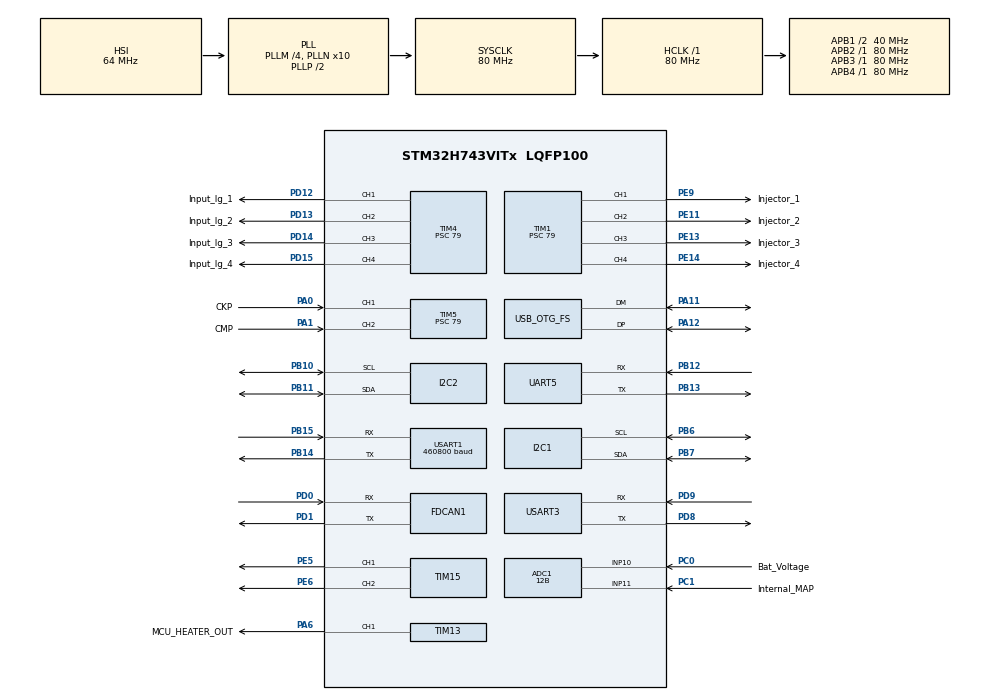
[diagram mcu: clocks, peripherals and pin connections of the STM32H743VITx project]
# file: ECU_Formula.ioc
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ADC1.Channel-0\#ChannelRegularConversion=ADC_CHANNEL_10
ADC1.NbrOfConversionFlag=1
ADC1.OffsetNumber-0\#ChannelRegularConversion=ADC_OFFSET_NONE
ADC1.OffsetSignedSaturation-0\#ChannelRegularConversion=DISABLE
ADC1.Rank-0\#ChannelRegularConversion=1
ADC1.Resolution=ADC_RESOLUTION_12B
ADC1.SamplingTime-0\#ChannelRegularConversion=ADC_SAMPLETIME_1CYCLE_5
ADC1.master=1
CORTEX_M7.BaseAddress_Spec=0x0
CORTEX_M7.default_mode_Activation=1
Dma.Request0=USART1_RX
Dma.Request1=USART1_TX
Dma.USART1_RX.0.Direction=DMA_PERIPH_TO_MEMORY
Dma.USART1_RX.0.EventEnable=DISABLE
Dma.USART1_RX.0.FIFOMode=DMA_FIFOMODE_DISABLE
Dma.USART1_RX.0.Instance=DMA1_Stream0
Dma.USART1_RX.0.MemDataAlignment=DMA_MDATAALIGN_BYTE
Dma.USART1_RX.0.MemInc=DMA_MINC_ENABLE
Dma.USART1_RX.0.Mode=DMA_NORMAL
Dma.USART1_RX.0.PeriphDataAlignment=DMA_PDATAALIGN_BYTE
Dma.USART1_RX.0.PeriphInc=DMA_PINC_DISABLE
Dma.USART1_RX.0.Polarity=HAL_DMAMUX_REQ_GEN_RISING
Dma.USART1_RX.0.Priority=DMA_PRIORITY_HIGH
Dma.USART1_RX.0.RequestNumber=1
Dma.USART1_RX.0.SignalID=NONE
Dma.USART1_RX.0.SyncEnable=DISABLE
Dma.USART1_RX.0.SyncPolarity=HAL_DMAMUX_SYNC_NO_EVENT
Dma.USART1_RX.0.SyncRequestNumber=1
Dma.USART1_RX.0.SyncSignalID=NONE
Dma.USART1_TX.1.Direction=DMA_MEMORY_TO_PERIPH
Dma.USART1_TX.1.EventEnable=DISABLE
Dma.USART1_TX.1.FIFOMode=DMA_FIFOMODE_DISABLE
Dma.USART1_TX.1.Instance=DMA1_Stream1
Dma.USART1_TX.1.MemDataAlignment=DMA_MDATAALIGN_BYTE
Dma.USART1_TX.1.MemInc=DMA_MINC_ENABLE
Dma.USART1_TX.1.Mode=DMA_NORMAL
Dma.USART1_TX.1.PeriphDataAlignment=DMA_PDATAALIGN_BYTE
Dma.USART1_TX.1.PeriphInc=DMA_PINC_DISABLE
Dma.USART1_TX.1.Polarity=HAL_DMAMUX_REQ_GEN_RISING
Dma.USART1_TX.1.Priority=DMA_PRIORITY_MEDIUM
Dma.USART1_TX.1.RequestNumber=1
Dma.USART1_TX.1.SignalID=NONE
Dma.USART1_TX.1.SyncEnable=DISABLE
Dma.USART1_TX.1.SyncPolarity=HAL_DMAMUX_SYNC_NO_EVENT
Dma.USART1_TX.1.SyncRequestNumber=1
Dma.USART1_TX.1.SyncSignalID=NONE
FDCAN1.CalculateBaudRateNominal=1041666
FDCAN1.CalculateTimeBitNominal=960
FDCAN1.CalculateTimeQuantumNominal=320.0
FDCAN1.TxBuffersNbr=32
I2C1.Timing=0x00909BEB
I2C2.Timing=0x00909BEB
Mcu.Family=STM32H7
Mcu.Name=STM32H743VITx
Mcu.Package=LQFP100
NVIC.DMA1_Stream0_IRQn=true\:10\:0\:true\:false\:true\:false\:true\:true
NVIC.DMA1_Stream1_IRQn=true\:10\:0\:true\:false\:true\:false\:true\:true
NVIC.OTG_FS_IRQn=true\:10\:0\:true\:false\:true\:true\:true\:true
NVIC.PriorityGroup=NVIC_PRIORITYGROUP_4
NVIC.TIM1_CC_IRQn=true\:1\:0\:true\:false\:true\:true\:true\:true
NVIC.TIM1_UP_IRQn=true\:1\:0\:true\:false\:true\:true\:true\:true
NVIC.TIM4_IRQn=true\:1\:0\:true\:false\:true\:true\:true\:true
NVIC.TIM5_IRQn=true\:0\:0\:false\:false\:true\:true\:true\:true
NVIC.USART1_IRQn=true\:10\:0\:true\:false\:true\:true\:true\:true
PA0.GPIO_Label=CKP
PA0.Signal=S_TIM5_CH1
PA1.GPIO_Label=CMP
PA1.Signal=S_TIM5_CH2
PA11.Mode=Device_Only
PA11.Signal=USB_OTG_FS_DM
PA12.Mode=Device_Only
PA12.Signal=USB_OTG_FS_DP
PA6.GPIO_Label=MCU_HEATER_OUT
PA6.Signal=S_TIM13_CH1
PB10.Mode=I2C
PB10.Signal=I2C2_SCL
PB11.Mode=I2C
PB11.Signal=I2C2_SDA
PB12.Mode=Asynchronous
PB12.Signal=UART5_RX
PB13.Mode=Asynchronous
PB13.Signal=UART5_TX
PB14.Mode=Asynchronous
PB14.Signal=USART1_TX
PB15.Mode=Asynchronous
PB15.Signal=USART1_RX
PB6.Mode=I2C
PB6.Signal=I2C1_SCL
PB7.Mode=I2C
PB7.Signal=I2C1_SDA
PC0.GPIO_Label=Bat_Voltage
PC0.Signal=ADCx_INP10
PC1.GPIO_Label=Internal_MAP
PC1.Signal=SharedAnalog_PC1
PC14-OSC32_IN\ (OSC32_IN).Mode=LSE-External-Oscillator
PC14-OSC32_IN\ (OSC32_IN).Signal=RCC_OSC32_IN
PC15-OSC32_OUT\ (OSC32_OUT).Mode=LSE-External-Oscillator
PC15-OSC32_OUT\ (OSC32_OUT).Signal=RCC_OSC32_OUT
PD0.Mode=FDCAN_Activate
PD0.Signal=FDCAN1_RX
PD1.Mode=FDCAN_Activate
PD1.Signal=FDCAN1_TX
PD12.GPIO_Label=Input_Ig_1
PD12.Signal=S_TIM4_CH1
PD13.GPIO_Label=Input_Ig_2
PD13.Signal=S_TIM4_CH2
PD14.GPIO_Label=Input_Ig_3
PD14.Signal=S_TIM4_CH3
PD15.GPIO_Label=Input_Ig_4
PD15.Signal=S_TIM4_CH4
PD8.Mode=Asynchronous
PD8.Signal=USART3_TX
PD9.Mode=Asynchronous
PD9.Signal=USART3_RX
PE11.GPIO_Label=Injector_2
PE11.Signal=S_TIM1_CH2
PE13.GPIO_Label=Injector_3
PE13.Signal=S_TIM1_CH3
PE14.GPIO_Label=Injector_4
PE14.Signal=S_TIM1_CH4
PE5.Signal=S_TIM15_CH1
PE6.Signal=S_TIM15_CH2
PE9.GPIO_Label=Injector_1
PE9.Signal=S_TIM1_CH1
PH0-OSC_IN\ (PH0).Mode=HSE-External-Oscillator
PH0-OSC_IN\ (PH0).Signal=RCC_OSC_IN
PH1-OSC_OUT\ (PH1).Mode=HSE-External-Oscillator
PH1-OSC_OUT\ (PH1).Signal=RCC_OSC_OUT
ProjectManager.HeapSize=0x200
ProjectManager.StackSize=0x400
ProjectManager.TargetToolchain=STM32CubeIDE
RCC.ADCFreq_Value=75000000
RCC.APB1Freq_Value=40000000
RCC.APB2Freq_Value=80000000
RCC.APB3Freq_Value=80000000
RCC.APB4Freq_Value=80000000
RCC.CortexFreq_Value=80000000
RCC.D2PPRE1=RCC_APB1_DIV2
RCC.DIVM1=4
RCC.DIVM2=4
RCC.DIVM3=1
RCC.DIVN1=10
RCC.DIVN2=9
RCC.DIVN3=10
RCC.DIVQ2=3
RCC.DIVQ3=3
RCC.FDCANCLockSelection=RCC_FDCANCLKSOURCE_PLL2
RCC.FLatency-AdvancedSettings=FLASH_LATENCY_0
RCC.HCLKFreq_Value=80000000
RCC.HSE_VALUE=16000000
RCC.PLL2FRACN=3072
RCC.PLL3FRACN=0
RCC.PLLFRACN=0
RCC.SAI1CLockSelection=RCC_SAI1CLKSOURCE_PLL2
RCC.SYSCLKFreq_VALUE=80000000
RCC.SYSCLKSource=RCC_SYSCLKSOURCE_PLLCLK
RCC.USART16CLockSelection=RCC_USART16CLKSOURCE_PLL2
RCC.USBCLockSelection=RCC_USBCLKSOURCE_HSI48
RCC.USBFreq_Value=48000000
SH.ADCx_INP10.0=ADC1_INP10,IN10-Single-Ended
SH.S_TIM13_CH1.0=TIM13_CH1,PWM Generation1 CH1
SH.S_TIM15_CH1.0=TIM15_CH1,PWM Generation1 CH1
SH.S_TIM15_CH2.0=TIM15_CH2,PWM Generation2 CH2
SH.S_TIM1_CH1.0=TIM1_CH1,Output Compare1 CH1
SH.S_TIM1_CH2.0=TIM1_CH2,Output Compare2 CH2
SH.S_TIM1_CH3.0=TIM1_CH3,Output Compare3 CH3
SH.S_TIM1_CH4.0=TIM1_CH4,Output Compare4 CH4
SH.S_TIM4_CH1.0=TIM4_CH1,Output Compare1 CH1
SH.S_TIM4_CH2.0=TIM4_CH2,Output Compare2 CH2
SH.S_TIM4_CH3.0=TIM4_CH3,Output Compare3 CH3
SH.S_TIM4_CH4.0=TIM4_CH4,Output Compare4 CH4
SH.S_TIM5_CH1.0=TIM5_CH1,Input_Capture1_from_TI1
SH.S_TIM5_CH2.0=TIM5_CH2,Input_Capture2_from_TI2
SH.SharedAnalog_PC1.0=ADC1_INN10
SH.SharedAnalog_PC1.1=ADC1_INP11,IN11-Single-Ended
TIM1.Channel-Output\ Compare1\ CH1=TIM_CHANNEL_1
TIM1.Channel-Output\ Compare2\ CH2=TIM_CHANNEL_2
TIM1.Channel-Output\ Compare3\ CH3=TIM_CHANNEL_3
TIM1.Channel-Output\ Compare4\ CH4=TIM_CHANNEL_4
TIM1.Channel-Output\ Compare5\ No\ Output=TIM_CHANNEL_5
TIM1.Channel-Output\ Compare6\ No\ Output=TIM_CHANNEL_6
TIM1.Prescaler=79
TIM13.Channel=TIM_CHANNEL_1
TIM15.Channel-PWM\ Generation1\ CH1=TIM_CHANNEL_1
TIM15.Channel-PWM\ Generation2\ CH2=TIM_CHANNEL_2
TIM4.Channel-Output\ Compare1\ CH1=TIM_CHANNEL_1
TIM4.Channel-Output\ Compare2\ CH2=TIM_CHANNEL_2
TIM4.Channel-Output\ Compare3\ CH3=TIM_CHANNEL_3
TIM4.Channel-Output\ Compare4\ CH4=TIM_CHANNEL_4
TIM4.Prescaler=79
TIM5.Channel-Input_Capture1_from_TI1=TIM_CHANNEL_1
TIM5.Channel-Input_Capture2_from_TI2=TIM_CHANNEL_2
TIM5.Channel-Output\ Compare3\ No\ Output=TIM_CHANNEL_3
TIM5.Channel-Output\ Compare4\ No\ Output=TIM_CHANNEL_4
TIM5.ICPolarity_CH1=TIM_INPUTCHANNELPOLARITY_RISING
TIM5.ICPolarity_CH2=TIM_INPUTCHANNELPOLARITY_RISING
TIM5.Period=0xFFFFFFFF
TIM5.Prescaler=79
USART1.BaudRate=460800
USART1.VirtualMode-Asynchronous=VM_ASYNC
USART3.VirtualMode-Asynchronous=VM_ASYNC
USB_DEVICE.CLASS_NAME_FS=CDC
USB_DEVICE.MANUFACTURER_STRING-CDC_FS=Formula Route
USB_DEVICE.PRODUCT_STRING_CDC_FS=ECU
USB_DEVICE.VirtualMode-CDC_FS=Cdc
USB_DEVICE.VirtualModeFS=Cdc_FS
USB_OTG_FS.VirtualMode=Device_Only
VP_MEMORYMAP_VS_MEMORYMAP.Mode=CurAppReg
VP_RCC_USB.Mode=USB_FS
VP_TIM13_VS_ClockSourceINT.Mode=Enable_Timer
VP_TIM1_VS_ClockSourceINT.Mode=Internal
VP_TIM1_VS_no_output5.Mode=Output Compare5 No Output
VP_TIM1_VS_no_output6.Mode=Output Compare6 No Output
VP_TIM4_VS_ClockSourceINT.Mode=Internal
VP_TIM5_VS_ClockSourceINT.Mode=Internal
VP_TIM5_VS_no_output3.Mode=Output Compare3 No Output
VP_TIM5_VS_no_output4.Mode=Output Compare4 No Output
VP_USB_DEVICE_VS_USB_DEVICE_CDC_FS.Mode=CDC_FS
board=custom

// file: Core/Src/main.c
/* USER CODE BEGIN Header */
/**
 ******************************************************************************
 * @file           : main.c
 * @brief          : Main program body
 ******************************************************************************
 * @attention
 *
 * Copyright (c) 2026 STMicroelectronics.
 * All rights reserved.
 *
 * This software is licensed under terms that can be found in the LICENSE file
 * in the root directory of this software component.
 * If no LICENSE file comes with this software, it is provided AS-IS.
 *
 ******************************************************************************
 */
/* USER CODE END Header */
#include "main.h"
#include "usb_device.h"

/* USER CODE BEGIN Includes */
#include <stdio.h>
#include <string.h>
#include <stdint.h>
#include <stdbool.h>

#include "ADC_driver.h"
#include "cJSON.h"
#include "communication_serial_protocol.h"
#include "MAX9924_driver.h"
#include "engine_control.h"
#include "Battery_manager.h"
#include "MAP_sensor.h"
/* USER CODE END Includes */

/* USER CODE BEGIN PM */
#define __HAL_TIM_SET_OC_MODE(__HANDLE__, __CHANNEL__, __MODE__) \
do { \
    if ((__CHANNEL__) == TIM_CHANNEL_1) { \
        MODIFY_REG((__HANDLE__)->Instance->CCMR1, TIM_CCMR1_OC1M, (__MODE__)); \
    } else if ((__CHANNEL__) == TIM_CHANNEL_2) { \
        MODIFY_REG((__HANDLE__)->Instance->CCMR1, TIM_CCMR1_OC2M, ((__MODE__) << 8U)); \
    } else if ((__CHANNEL__) == TIM_CHANNEL_3) { \
        MODIFY_REG((__HANDLE__)->Instance->CCMR2, TIM_CCMR2_OC3M, (__MODE__)); \
    } else if ((__CHANNEL__) == TIM_CHANNEL_4) { \
        MODIFY_REG((__HANDLE__)->Instance->CCMR2, TIM_CCMR2_OC4M, ((__MODE__) << 8U)); \
    } \
} while(0)
/* USER CODE END PM */

ADC_HandleTypeDef hadc1;

FDCAN_HandleTypeDef hfdcan1;

I2C_HandleTypeDef hi2c1;
I2C_HandleTypeDef hi2c2;

TIM_HandleTypeDef htim1;
TIM_HandleTypeDef htim4;
TIM_HandleTypeDef htim5;
TIM_HandleTypeDef htim13;
TIM_HandleTypeDef htim15;

UART_HandleTypeDef huart5;
UART_HandleTypeDef huart1;
UART_HandleTypeDef huart3;
DMA_HandleTypeDef hdma_usart1_rx;
DMA_HandleTypeDef hdma_usart1_tx;

void SystemClock_Config(void);
void PeriphCommonClock_Config(void);
static void MPU_Config(void);
static void MX_GPIO_Init(void);
static void MX_DMA_Init(void);
static void MX_USART3_UART_Init(void);
static void MX_I2C1_Init(void);
static void MX_I2C2_Init(void);
static void MX_USART1_UART_Init(void);
static void MX_TIM5_Init(void);
static void MX_TIM4_Init(void);
static void MX_TIM1_Init(void);
static void MX_ADC1_Init(void);
static void MX_TIM13_Init(void);
static void MX_UART5_Init(void);
static void MX_FDCAN1_Init(void);
static void MX_TIM15_Init(void);
/* USER CODE BEGIN PFP */
void I2C_Scanner(I2C_HandleTypeDef *hi2c);
void SEND_VR_CallBack(Command_Result_t result, char *answer);
void SEND_ADC_CallBack(Command_Result_t result, char *answer);
void SEND_Battery_CallBack(Command_Result_t result, char *answer);
void SEND_Engine_CallBack(Command_Result_t result, char *answer);
void ADC_Read_Cycle(void);

void ENGINE_INJECTOR_SCHEDULE_TEST_TOGGLE(void);
void ENGINE_IGNITION_SCHEDULE_TEST_TOGGLE(void);

void TIM1_Init_Config(void);
void TIM4_Init_Config(void);
void TIM5_Init_Config(void);
/* USER CODE END PFP */

/* USER CODE BEGIN 0 */
uint32_t captureValue = 0;
uint32_t previousCaptureValue = 0;
uint32_t frequency = 0;

void HAL_TIM_IC_CaptureCallback(TIM_HandleTypeDef *htim) {
	if (htim->Instance == TIM5 && htim->Channel == CKP_ACTIVE_CHANNEL) {
		VR_InputCaptureCallback(SENSOR_CKP);
	}
	if (htim->Instance == TIM5 && htim->Channel == CMP_ACTIVE_CHANNEL) {
		VR_InputCaptureCallback(SENSOR_CMP);
	}
}

void HAL_TIM_OC_DelayElapsedCallback(TIM_HandleTypeDef *htim) {
	if (htim->Instance == TIM5 && htim->Channel == HAL_TIM_ACTIVE_CHANNEL_3) {

	}

	if (htim->Instance == TIM5 && htim->Channel == HAL_TIM_ACTIVE_CHANNEL_4) {
		ENGINE_PhaseOCCallback();
	}

	if (htim->Instance == TIM1) {
		ENGINE_Injector_OutputCompareCallback(htim);
	}

	if (htim->Instance == TIM4) {
		ENGINE_Ignition_OutputCompareCallback(htim);
	}
}

void I2C_Scanner(I2C_HandleTypeDef *hi2c) {
	char smallBuf[16];
	uint8_t devices_found = 0;

	printf("\r\n--- Scanning I2C bus ---\r\n");

	for (uint8_t addr = 1; addr < 128; addr++) {
		if (HAL_I2C_IsDeviceReady(hi2c, (uint16_t) (addr << 1), 2, 10)
				== HAL_OK) {

			snprintf(smallBuf, sizeof(smallBuf), "0x%02X", addr);
			printf("Device found at: %s (8-bit: 0x%02X)\r\n", smallBuf,
					addr << 1);

			devices_found++;
		}
	}

	if (devices_found == 0) {
		printf("No I2C devices found!\r\n");
	} else {
		printf("\r\nTotal devices found: %u\r\n", devices_found);
	}

	printf("--- Scan Complete ---\r\n");
}

static char* ADC_GenerateJSON(void) {
	cJSON *root = cJSON_CreateObject();
	char str_buffer[32];

	if (root == NULL) {
		return NULL;
	}

	// --- ADC U16 ---
	cJSON *adc_u16_array = cJSON_CreateArray();
	for (int i = 0; i < 8; i++) {
		cJSON *sensor = cJSON_CreateObject();
		cJSON_AddStringToObject(sensor, "sensor", AD7998_U16_GetSensorName(i));

		cJSON_AddNumberToObject(sensor, "raw", adc_u16.raw_values[i]);

		snprintf(str_buffer, sizeof(str_buffer), "%.4f", adc_u16.voltages[i]);
		cJSON_AddRawToObject(sensor, "voltage", str_buffer);

		cJSON_AddItemToArray(adc_u16_array, sensor);
	}
	cJSON_AddItemToObject(root, "adc_u16", adc_u16_array);

	// --- ADC U17 ---
	cJSON *adc_u17_array = cJSON_CreateArray();
	for (int i = 0; i < 8; i++) {
		cJSON *sensor = cJSON_CreateObject();
		cJSON_AddStringToObject(sensor, "sensor", AD7998_U17_GetSensorName(i));

		cJSON_AddNumberToObject(sensor, "raw", adc_u17.raw_values[i]);

		snprintf(str_buffer, sizeof(str_buffer), "%.4f", adc_u17.voltages[i]);
		cJSON_AddRawToObject(sensor, "voltage", str_buffer);

		cJSON_AddItemToArray(adc_u17_array, sensor);
	}
	cJSON_AddItemToObject(root, "adc_u17", adc_u17_array);

	char *json_string = cJSON_PrintUnformatted(root);

	if (json_string != NULL) {
		size_t total_len = strlen(json_string) + 1;
		char *final_string = (char*) malloc(total_len);
		if (final_string != NULL) {
			snprintf(final_string, total_len, "%s", json_string);
		}
		cJSON_free(json_string);
		cJSON_Delete(root);
		return final_string;
	}

	cJSON_Delete(root);
	return NULL;
}

static char* VR_GenerateJSON(void) {
	cJSON *root = cJSON_CreateObject();
	char str_buffer[32];

	if (root == NULL) {
		return NULL;
	}

	cJSON *ckp = cJSON_CreateObject();
	cJSON *cmp = cJSON_CreateObject();
	if (ckp == NULL || cmp == NULL) {
		cJSON_Delete(root);
		return NULL;
	}

	// --- CKP Data ---
	snprintf(str_buffer, sizeof(str_buffer), "%.4f", ckp_sensor.rpm);
	cJSON_AddRawToObject(ckp, "rpm", str_buffer);

	snprintf(str_buffer, sizeof(str_buffer), "%.4f", ckp_sensor.frequency_hz);
	cJSON_AddRawToObject(ckp, "frequence", str_buffer);

	cJSON_AddNumberToObject(ckp, "pulses", ckp_sensor.pulse_count);
	cJSON_AddNumberToObject(ckp, "revolutions", ckp_sensor.revolution_count);

	cJSON_AddNumberToObject(ckp, "period", ckp_sensor.period);

	// --- CMP Data ---
	snprintf(str_buffer, sizeof(str_buffer), "%.4f", cmp_sensor.rpm);
	cJSON_AddRawToObject(cmp, "rpm", str_buffer);

	snprintf(str_buffer, sizeof(str_buffer), "%.4f", cmp_sensor.frequency_hz);
	cJSON_AddRawToObject(cmp, "frequence", str_buffer);

	cJSON_AddNumberToObject(cmp, "pulses", cmp_sensor.pulse_count);
	cJSON_AddNumberToObject(cmp, "revolutions", cmp_sensor.revolution_count);

	cJSON_AddNumberToObject(ckp, "period", cmp_sensor.period);

	cJSON_AddItemToObject(root, "ckp", ckp);
	cJSON_AddItemToObject(root, "cmp", cmp);

	char *json_string = cJSON_PrintUnformatted(root);

	if (json_string != NULL) {
		size_t total_len = strlen(json_string) + 1;
		char *final_string = (char*) malloc(total_len);
		if (final_string != NULL) {
			snprintf(final_string, total_len, "%s", json_string);
		}
		cJSON_free(json_string);
		cJSON_Delete(root);
		return final_string;
	}

	cJSON_Delete(root);
	return NULL;
}

static char* BATTERY_GenerateJSON(void) {
	char str_buffer[32];

	cJSON *root = cJSON_CreateObject();
	if (root == NULL) {
		return NULL;
	}

	cJSON *battery_object = cJSON_CreateObject();
	if (battery_object == NULL) {
		cJSON_Delete(root);
		return NULL;
	}

	snprintf(str_buffer, sizeof(str_buffer), "%.4f", battery.voltage);
	cJSON_AddRawToObject(battery_object, "voltage", str_buffer);

	cJSON_AddNumberToObject(battery_object, "raw_adc", battery.raw_adc);

	snprintf(str_buffer, sizeof(str_buffer), "%.4f", battery.linear_cte);
	cJSON_AddRawToObject(battery_object, "linear_cte", str_buffer);

	cJSON *lvL_object = cJSON_CreateObject();
	if (lvL_object == NULL) {
		cJSON_Delete(root);
		return NULL;
	}

	snprintf(str_buffer, sizeof(str_buffer), "%.4f",
			(float) battery.lvL.voltage);
	cJSON_AddRawToObject(lvL_object, "voltage", str_buffer);

	cJSON_AddNumberToObject(lvL_object, "raw_adc", battery.lvL.raw_adc);

	cJSON_AddItemToObject(battery_object, "lvL", lvL_object);

	cJSON *lvH_object = cJSON_CreateObject();
	if (lvH_object == NULL) {
		cJSON_Delete(root);
		return NULL;
	}

	snprintf(str_buffer, sizeof(str_buffer), "%.4f",
			(float) battery.lvH.voltage);
	cJSON_AddRawToObject(lvH_object, "voltage", str_buffer);

	cJSON_AddNumberToObject(lvH_object, "raw_adc", battery.lvH.raw_adc);

	cJSON_AddItemToObject(battery_object, "lvH", lvH_object);

	cJSON_AddItemToObject(root, "battery", battery_object);

	char *json_string = cJSON_PrintUnformatted(root);

	if (json_string != NULL) {
		size_t total_len = strlen(json_string) + 1;
		char *final_string = (char*) malloc(total_len);
		if (final_string != NULL) {
			snprintf(final_string, total_len, "%s", json_string);
		}
		cJSON_free(json_string);
		cJSON_Delete(root);
		return final_string;
	}

	cJSON_Delete(root);
	return NULL;
}

static char* ENGINE_GenerateJSON(void) {
	char str_buffer[32];

	cJSON *root = cJSON_CreateObject();
	if (root == NULL) {
		return NULL;
	}

	cJSON *engine_object = cJSON_CreateObject();
	if (engine_object == NULL) {
		cJSON_Delete(root);
		return NULL;
	}

	cJSON *crankshaft = cJSON_CreateObject();
	cJSON *camshaft = cJSON_CreateObject();
	if (crankshaft == NULL || camshaft == NULL) {
		cJSON_Delete(root);
		return NULL;
	}

	snprintf(str_buffer, sizeof(str_buffer), "%.4f",
			(float) engine.crankshaft_angular_velocity);
	cJSON_AddRawToObject(crankshaft, "angularvelocity", str_buffer);

	snprintf(str_buffer, sizeof(str_buffer), "%.4f",
			(float) engine.crankshaft_angular_acc);
	cJSON_AddRawToObject(crankshaft, "angularacc", str_buffer);

	snprintf(str_buffer, sizeof(str_buffer), "%.6f",
			(float) engine.crankshaft_angle);
	cJSON_AddRawToObject(crankshaft, "angle", str_buffer);

	snprintf(str_buffer, sizeof(str_buffer), "%.4f",
			(float) engine.camshaft_angular_velocity);
	cJSON_AddRawToObject(camshaft, "angularvelocity", str_buffer);

	snprintf(str_buffer, sizeof(str_buffer), "%.4f",
			(float) engine.camshaft_angular_acc);
	cJSON_AddRawToObject(camshaft, "angularacc", str_buffer);

	snprintf(str_buffer, sizeof(str_buffer), "%.6f",
			(float) engine.camshaft_angle);
	cJSON_AddRawToObject(camshaft, "angle", str_buffer);

	cJSON_AddItemToObject(engine_object, "crankshaft", crankshaft);
	cJSON_AddItemToObject(engine_object, "camshaft", camshaft);

	cJSON_AddStringToObject(engine_object, "piston_one",
			ENGINE_GetPhaseName(engine.cyl_status[0].current_phase));
	cJSON_AddStringToObject(engine_object, "piston_two",
			ENGINE_GetPhaseName(engine.cyl_status[1].current_phase));
	cJSON_AddStringToObject(engine_object, "piston_three",
			ENGINE_GetPhaseName(engine.cyl_status[2].current_phase));
	cJSON_AddStringToObject(engine_object, "piston_four",
			ENGINE_GetPhaseName(engine.cyl_status[3].current_phase));

	cJSON_AddItemToObject(root, "engine", engine_object);

	char *json_string = cJSON_PrintUnformatted(root);

	if (json_string != NULL) {
		size_t total_len = strlen(json_string) + 1;
		char *final_string = (char*) malloc(total_len);
		if (final_string != NULL) {
			snprintf(final_string, total_len, "%s", json_string);
		}
		cJSON_free(json_string);
		cJSON_Delete(root);
		return final_string;
	}

	cJSON_Delete(root);
	return NULL;
}
static const char* CYL_KEYS[] = {"cyl_0", "cyl_1", "cyl_2", "cyl_3"};
static char* CYCLE_GenerateJSON(void) {
	char str_buffer[32];

	cJSON *root = cJSON_CreateObject();
	if (root == NULL) {
		return NULL;
	}

	cJSON *cycle_object = cJSON_CreateObject();
	if (cycle_object == NULL) {
		cJSON_Delete(root);
		return NULL;
	}

	cJSON *crankshaft = cJSON_CreateObject();
	cJSON *camshaft = cJSON_CreateObject();
	if (crankshaft == NULL || camshaft == NULL) {
		cJSON_Delete(root);
		return NULL;
	}

	for (int i = 0; i < 4; i++) {
		cJSON *cyl = cJSON_CreateObject();
		snprintf(str_buffer, sizeof(str_buffer), "%.4f",
				telemetry.cyl_telemetry[i].dwell_angle);
		cJSON_AddRawToObject(cyl, "dwell_angle", str_buffer);

		snprintf(str_buffer, sizeof(str_buffer), "%.4f",
				telemetry.cyl_telemetry[i].spark_angle);
		cJSON_AddRawToObject(cyl, "spark_angle", str_buffer);

		cJSON_AddItemToObject(cycle_object, CYL_KEYS[i], cyl);
	}

	cJSON_AddItemToObject(root, "cycle", cycle_object);

	char *json_string = cJSON_PrintUnformatted(root);

	if (json_string != NULL) {
		size_t total_len = strlen(json_string) + 1;
		char *final_string = (char*) malloc(total_len);
		if (final_string != NULL) {
			snprintf(final_string, total_len, "%s", json_string);
		}
		cJSON_free(json_string);
		cJSON_Delete(root);
		return final_string;
	}

	cJSON_Delete(root);
	return NULL;
}

static char* MAP_GenerateJSON(void) {
	char str_buffer[32];

	cJSON *root = cJSON_CreateObject();
	if (root == NULL) {
		return NULL;
	}

	cJSON *map_object = cJSON_CreateObject();
	if (map_object == NULL) {
		cJSON_Delete(root);
		return NULL;
	}

	// --- Variáveis de Pressão e ADC ---
	snprintf(str_buffer, sizeof(str_buffer), "%.4f", map.pressure);
	cJSON_AddRawToObject(map_object, "pressure", str_buffer);

	snprintf(str_buffer, sizeof(str_buffer), "%.4f", map.pressure_cycle);
	cJSON_AddRawToObject(map_object, "pressure_cycle", str_buffer);

	snprintf(str_buffer, sizeof(str_buffer), "%.4f", map.baro);
	cJSON_AddRawToObject(map_object, "baro", str_buffer);

	cJSON_AddNumberToObject(map_object, "raw_adc", map.raw_adc);

	snprintf(str_buffer, sizeof(str_buffer), "%.6f", map.linear_cte);
	cJSON_AddRawToObject(map_object, "linear_cte", str_buffer);

	// --- Calibração Baixa (calL) ---
	cJSON *calL_object = cJSON_CreateObject();
	if (calL_object == NULL) {
		cJSON_Delete(root);
		return NULL;
	}
	snprintf(str_buffer, sizeof(str_buffer), "%.4f", map.calL.pressure);
	cJSON_AddRawToObject(calL_object, "pressure", str_buffer);
	cJSON_AddNumberToObject(calL_object, "raw_adc", map.calL.raw_adc);
	cJSON_AddItemToObject(map_object, "calL", calL_object);

	// --- Calibração Alta (calH) ---
	cJSON *calH_object = cJSON_CreateObject();
	if (calH_object == NULL) {
		cJSON_Delete(root);
		return NULL;
	}
	snprintf(str_buffer, sizeof(str_buffer), "%.4f", map.calH.pressure);
	cJSON_AddRawToObject(calH_object, "pressure", str_buffer);
	cJSON_AddNumberToObject(calH_object, "raw_adc", map.calH.raw_adc);
	cJSON_AddItemToObject(map_object, "calH", calH_object);

	// --- Status e Diagnóstico ---
	cJSON_AddBoolToObject(map_object, "valid", map.valid);
	cJSON_AddNumberToObject(map_object, "fault_count", map.fault_count);

	cJSON_AddItemToObject(root, "map", map_object);

	char *json_string = cJSON_PrintUnformatted(root);

	if (json_string != NULL) {
		size_t total_len = strlen(json_string) + 1;
		char *final_string = (char*) malloc(total_len);
		if (final_string != NULL) {
			snprintf(final_string, total_len, "%s", json_string);
		}
		cJSON_free(json_string);
		cJSON_Delete(root);
		return final_string;
	}

	cJSON_Delete(root);
	return NULL;
}

void SEND_VR_CallBack(Command_Result_t result, char *answer) {
	if (result == CMD_RESULT_SUCCESS) {
		SERIAL_SendJSON(VR_GenerateJSON(), "OK", 150,
		NULL);
	} else if (result == CMD_RESULT_TIMEOUT) {

	}
}

void SEND_ADC_CallBack(Command_Result_t result, char *answer) {
	if (result == CMD_RESULT_SUCCESS) {
		SERIAL_SendJSON(ADC_GenerateJSON(), "OK", 150,
		NULL);
	} else if (result == CMD_RESULT_TIMEOUT) {

	}
}

void SEND_Battery_CallBack(Command_Result_t result, char *answer) {
	if (result == CMD_RESULT_SUCCESS) {
		SERIAL_SendJSON(BATTERY_GenerateJSON(), "OK", 150,
		NULL);
	} else if (result == CMD_RESULT_TIMEOUT) {

	}
}

void SEND_Engine_CallBack(Command_Result_t result, char *answer) {
	if (result == CMD_RESULT_SUCCESS) {
		SERIAL_SendJSON(ENGINE_GenerateJSON(), "OK", 150,
		NULL);
	} else if (result == CMD_RESULT_TIMEOUT) {

	}
}

void SEND_Telemetry_CallBack(Command_Result_t result, char *answer) {
	if (result == CMD_RESULT_SUCCESS) {
		SERIAL_SendJSON(CYCLE_GenerateJSON(), "OK", 150,
		NULL);
	} else if (result == CMD_RESULT_TIMEOUT) {

	}
}

void ADC_Read_Cycle(void) {
	if (AD7998_U16_ReadAllChannels() != HAL_OK) {
		printf("Erro ao ler ADC U16\r\n");
		return;
	}

	if (AD7998_U17_ReadAllChannels() != HAL_OK) {
		printf("Erro ao ler ADC U17\r\n");
		return;
	}
}

void ENGINE_INJECTOR_SCHEDULE_TEST_TOGGLE(void) {
	injector_schedule_test = !injector_schedule_test;
}

void ENGINE_IGNITION_SCHEDULE_TEST_TOGGLE(void) {
	ignition_schedule_test = !ignition_schedule_test;
}

/* USER CODE END 0 */

int main(void)
{

  /* MPU Configuration--------------------------------------------------------*/
  MPU_Config();

  /* MCU Configuration--------------------------------------------------------*/

  /* Reset of all peripherals, Initializes the Flash interface and the Systick. */
  HAL_Init();

  /* Configure the system clock */
  SystemClock_Config();

  /* Configure the peripherals common clocks */
  PeriphCommonClock_Config();

  /* Initialize all configured peripherals */
  MX_GPIO_Init();
  MX_DMA_Init();
  MX_USART3_UART_Init();
  MX_I2C1_Init();
  MX_I2C2_Init();
  MX_USART1_UART_Init();
  MX_TIM5_Init();
  MX_TIM4_Init();
  MX_TIM1_Init();
  MX_ADC1_Init();
  MX_TIM13_Init();
  MX_UART5_Init();
  MX_FDCAN1_Init();
  MX_TIM15_Init();
  MX_USB_DEVICE_Init();
  /* USER CODE BEGIN 2 */
	SERIAL_Init();

	printf("hi2c1:\r\n");
	I2C_Scanner(&hi2c1);
	printf("hi2c2:\r\n");
	I2C_Scanner(&hi2c2);

	TIM1_Init_Config();
	TIM4_Init_Config();
	TIM5_Init_Config();

	HAL_ADCEx_Calibration_Start(&hadc1, ADC_CALIB_OFFSET, ADC_SINGLE_ENDED);

	//Protocolo de Software Desktop

	//Inicializacão dos ADCs
	if (HAL_ADCEx_Calibration_Start(&hadc1, ADC_CALIB_OFFSET, ADC_SINGLE_ENDED)
			!= HAL_OK) {
		Error_Handler();
	}

	BATTERY_Init();
	BATTERY_LoadDefaultCurve();

	MAP_Init();
	MAP_LoadDefaultCurve();

	HAL_Delay(50);

	if (MAP_Update() && map.pressure > 80.0f) {
	    map.baro = map.pressure;
	    map.pressure_cycle = map.baro;
	    printf("[MAP] Baro na chave: %.1f kPa\r\n", map.baro);
	} else {
	    printf("[MAP] AVISO: baro nao capturada, mantendo %.1f kPa\r\n", map.baro);
	}

	if (AD7998_Init(&hi2c1, 3.3f) != HAL_OK) {
		printf("Failed to initialize ADCs!\r\n");
	}

	if (VR_Init(58, 60, 3, 4, 1000) == HAL_OK) {
		printf("VR sensors successfully initialized!\r\n");
	} else
		printf("Error starting VR sensors!\r\n");

	printf("\r\n");
  /* USER CODE END 2 */

  /* Infinite loop */
  /* USER CODE BEGIN WHILE */
	while (1) {
		/*static uint32_t last_ADC_read = 0;
		if (HAL_GetTick() - last_ADC_read >= 5) {
			last_ADC_read = HAL_GetTick();
			ADC_Read_Cycle();
		}

		static uint32_t last_BATTERY_read = 0;
		if (HAL_GetTick() - last_BATTERY_read >= 15) {
			last_BATTERY_read = HAL_GetTick();
			BATTERY_Poll();
		}

		SERIAL_ProcessQueue();
		SERIAL_CheckRXCommand();

		ENGINE_Injector_TestLoop();
		ENGINE_Ignition_TestLoop();

		ENGINE_Injector_ScheduleTestLoop();
		ENGINE_Ignition_ScheduleTestLoop();

		ENGINE_IGNITION_SCHEDULE_TEST_TOGGLE();

		static uint32_t last_telemetry_tick = 0;
		if ((HAL_GetTick() - last_telemetry_tick) >= 75) {
			last_telemetry_tick = HAL_GetTick();

			//if (is_connected) {

				static uint8_t telemetry_step = 0;

				if (!SERIAL_IsQueueFull() && current_command.active == 0) {

					last_telemetry_tick = HAL_GetTick();

					switch (telemetry_step) {
					case 0:
					    //SERIAL_SendCommand("AT+VR", NULL, 0, NULL);
					    SERIAL_SendJSON(VR_GenerateJSON(), NULL, 0, NULL);
					    telemetry_step++;
					    break;

					case 1:
					    //SERIAL_SendCommand("AT+ADC", NULL, 0, NULL);
					    SERIAL_SendJSON(ADC_GenerateJSON(), NULL, 0, NULL);
					    telemetry_step++;
					    break;

					case 2:
					    //SERIAL_SendCommand("AT+BATTERY", NULL, 0, NULL);
					    SERIAL_SendJSON(BATTERY_GenerateJSON(), NULL, 0, NULL);
					    telemetry_step++;
					    break;

					case 3:
					    //SERIAL_SendCommand("AT+TELEMETRY", NULL, 0, NULL);
					    SERIAL_SendJSON(CYCLE_GenerateJSON(), NULL, 0, NULL);
					    telemetry_step++;
					    break;

					case 4:
					    //SERIAL_SendCommand("AT+ENGINE", NULL, 0, NULL);
					    SERIAL_SendJSON(MAP_GenerateJSON(), NULL, 0, NULL);
					    telemetry_step++;
					    break;

					case 5:
					    //SERIAL_SendCommand("AT+ENGINE", NULL, 0, NULL);
					    SERIAL_SendJSON(ENGINE_GenerateJSON(), NULL, 0, NULL);
					    telemetry_step = 0;
					    break;
					}
				}*/
			/*} else {
#ifdef DEBUG_PROTOCOL
				printf("Try Connect to Workbench... \r\n");
#endif
				SERIAL_SendCommand("AT", "OK", 300, SERIAL_CheckConnection);
			}*/
		//}

    /* USER CODE END WHILE */

	}
}

void SystemClock_Config(void)
{
  RCC_OscInitTypeDef RCC_OscInitStruct = {0};
  RCC_ClkInitTypeDef RCC_ClkInitStruct = {0};
  RCC_CRSInitTypeDef RCC_CRSInitStruct = {0};

  /** Supply configuration update enable
  */
  HAL_PWREx_ConfigSupply(PWR_LDO_SUPPLY);

  /** Configure the main internal regulator output voltage
  */
  __HAL_PWR_VOLTAGESCALING_CONFIG(PWR_REGULATOR_VOLTAGE_SCALE3);

  while(!__HAL_PWR_GET_FLAG(PWR_FLAG_VOSRDY)) {}

  /** Initializes the RCC Oscillators according to the specified parameters
  * in the RCC_OscInitTypeDef structure.
  */
  RCC_OscInitStruct.OscillatorType = RCC_OSCILLATORTYPE_HSI48|RCC_OSCILLATORTYPE_HSI;
  RCC_OscInitStruct.HSIState = RCC_HSI_DIV1;
  RCC_OscInitStruct.HSICalibrationValue = RCC_HSICALIBRATION_DEFAULT;
  RCC_OscInitStruct.HSI48State = RCC_HSI48_ON;
  RCC_OscInitStruct.PLL.PLLState = RCC_PLL_ON;
  RCC_OscInitStruct.PLL.PLLSource = RCC_PLLSOURCE_HSI;
  RCC_OscInitStruct.PLL.PLLM = 4;
  RCC_OscInitStruct.PLL.PLLN = 10;
  RCC_OscInitStruct.PLL.PLLP = 2;
  RCC_OscInitStruct.PLL.PLLQ = 2;
  RCC_OscInitStruct.PLL.PLLR = 2;
  RCC_OscInitStruct.PLL.PLLRGE = RCC_PLL1VCIRANGE_3;
  RCC_OscInitStruct.PLL.PLLVCOSEL = RCC_PLL1VCOMEDIUM;
  RCC_OscInitStruct.PLL.PLLFRACN = 0;
  if (HAL_RCC_OscConfig(&RCC_OscInitStruct) != HAL_OK)
  {
    Error_Handler();
  }

  /** Initializes the CPU, AHB and APB buses clocks
  */
  RCC_ClkInitStruct.ClockType = RCC_CLOCKTYPE_HCLK|RCC_CLOCKTYPE_SYSCLK
                              |RCC_CLOCKTYPE_PCLK1|RCC_CLOCKTYPE_PCLK2
                              |RCC_CLOCKTYPE_D3PCLK1|RCC_CLOCKTYPE_D1PCLK1;
  RCC_ClkInitStruct.SYSCLKSource = RCC_SYSCLKSOURCE_PLLCLK;
  RCC_ClkInitStruct.SYSCLKDivider = RCC_SYSCLK_DIV1;
  RCC_ClkInitStruct.AHBCLKDivider = RCC_HCLK_DIV1;
  RCC_ClkInitStruct.APB3CLKDivider = RCC_APB3_DIV1;
  RCC_ClkInitStruct.APB1CLKDivider = RCC_APB1_DIV2;
  RCC_ClkInitStruct.APB2CLKDivider = RCC_APB2_DIV1;
  RCC_ClkInitStruct.APB4CLKDivider = RCC_APB4_DIV1;

  if (HAL_RCC_ClockConfig(&RCC_ClkInitStruct, FLASH_LATENCY_1) != HAL_OK)
  {
    Error_Handler();
  }

  /** Enable the SYSCFG APB clock
  */
  __HAL_RCC_CRS_CLK_ENABLE();

  /** Configures CRS
  */
  RCC_CRSInitStruct.Prescaler = RCC_CRS_SYNC_DIV1;
  RCC_CRSInitStruct.Source = RCC_CRS_SYNC_SOURCE_USB2;
  RCC_CRSInitStruct.Polarity = RCC_CRS_SYNC_POLARITY_RISING;
  RCC_CRSInitStruct.ReloadValue = __HAL_RCC_CRS_RELOADVALUE_CALCULATE(48000000,1000);
  RCC_CRSInitStruct.ErrorLimitValue = 34;
  RCC_CRSInitStruct.HSI48CalibrationValue = 32;

  HAL_RCCEx_CRSConfig(&RCC_CRSInitStruct);
}

void PeriphCommonClock_Config(void)
{
  RCC_PeriphCLKInitTypeDef PeriphClkInitStruct = {0};

  /** Initializes the peripherals clock
  */
  PeriphClkInitStruct.PeriphClockSelection = RCC_PERIPHCLK_ADC|RCC_PERIPHCLK_FDCAN
                              |RCC_PERIPHCLK_USART1;
  PeriphClkInitStruct.PLL2.PLL2M = 4;
  PeriphClkInitStruct.PLL2.PLL2N = 9;
  PeriphClkInitStruct.PLL2.PLL2P = 2;
  PeriphClkInitStruct.PLL2.PLL2Q = 3;
  PeriphClkInitStruct.PLL2.PLL2R = 2;
  PeriphClkInitStruct.PLL2.PLL2RGE = RCC_PLL2VCIRANGE_3;
  PeriphClkInitStruct.PLL2.PLL2VCOSEL = RCC_PLL2VCOMEDIUM;
  PeriphClkInitStruct.PLL2.PLL2FRACN = 3072;
  PeriphClkInitStruct.FdcanClockSelection = RCC_FDCANCLKSOURCE_PLL2;
  PeriphClkInitStruct.Usart16ClockSelection = RCC_USART16CLKSOURCE_PLL2;
  PeriphClkInitStruct.AdcClockSelection = RCC_ADCCLKSOURCE_PLL2;
  if (HAL_RCCEx_PeriphCLKConfig(&PeriphClkInitStruct) != HAL_OK)
  {
    Error_Handler();
  }
}

static void MX_ADC1_Init(void)
{

  ADC_MultiModeTypeDef multimode = {0};
  ADC_ChannelConfTypeDef sConfig = {0};

  /** Common config
  */
  hadc1.Instance = ADC1;
  hadc1.Init.ClockPrescaler = ADC_CLOCK_ASYNC_DIV2;
  hadc1.Init.Resolution = ADC_RESOLUTION_12B;
  hadc1.Init.ScanConvMode = ADC_SCAN_DISABLE;
  hadc1.Init.EOCSelection = ADC_EOC_SINGLE_CONV;
  hadc1.Init.LowPowerAutoWait = DISABLE;
  hadc1.Init.ContinuousConvMode = DISABLE;
  hadc1.Init.NbrOfConversion = 1;
  hadc1.Init.DiscontinuousConvMode = DISABLE;
  hadc1.Init.ExternalTrigConv = ADC_SOFTWARE_START;
  hadc1.Init.ExternalTrigConvEdge = ADC_EXTERNALTRIGCONVEDGE_NONE;
  hadc1.Init.ConversionDataManagement = ADC_CONVERSIONDATA_DR;
  hadc1.Init.Overrun = ADC_OVR_DATA_PRESERVED;
  hadc1.Init.LeftBitShift = ADC_LEFTBITSHIFT_NONE;
  hadc1.Init.OversamplingMode = DISABLE;
  hadc1.Init.Oversampling.Ratio = 1;
  if (HAL_ADC_Init(&hadc1) != HAL_OK)
  {
    Error_Handler();
  }

  /** Configure the ADC multi-mode
  */
  multimode.Mode = ADC_MODE_INDEPENDENT;
  if (HAL_ADCEx_MultiModeConfigChannel(&hadc1, &multimode) != HAL_OK)
  {
    Error_Handler();
  }

  /** Configure Regular Channel
  */
  sConfig.Channel = ADC_CHANNEL_10;
  sConfig.Rank = ADC_REGULAR_RANK_1;
  sConfig.SamplingTime = ADC_SAMPLETIME_1CYCLE_5;
  sConfig.SingleDiff = ADC_SINGLE_ENDED;
  sConfig.OffsetNumber = ADC_OFFSET_NONE;
  sConfig.Offset = 0;
  sConfig.OffsetSignedSaturation = DISABLE;
  if (HAL_ADC_ConfigChannel(&hadc1, &sConfig) != HAL_OK)
  {
    Error_Handler();
  }

}

static void MX_FDCAN1_Init(void)
{

  hfdcan1.Instance = FDCAN1;
  hfdcan1.Init.FrameFormat = FDCAN_FRAME_CLASSIC;
  hfdcan1.Init.Mode = FDCAN_MODE_NORMAL;
  hfdcan1.Init.AutoRetransmission = DISABLE;
  hfdcan1.Init.TransmitPause = DISABLE;
  hfdcan1.Init.ProtocolException = DISABLE;
  hfdcan1.Init.NominalPrescaler = 16;
  hfdcan1.Init.NominalSyncJumpWidth = 1;
  hfdcan1.Init.NominalTimeSeg1 = 1;
  hfdcan1.Init.NominalTimeSeg2 = 1;
  hfdcan1.Init.DataPrescaler = 1;
  hfdcan1.Init.DataSyncJumpWidth = 1;
  hfdcan1.Init.DataTimeSeg1 = 1;
  hfdcan1.Init.DataTimeSeg2 = 1;
  hfdcan1.Init.MessageRAMOffset = 0;
  hfdcan1.Init.StdFiltersNbr = 0;
  hfdcan1.Init.ExtFiltersNbr = 0;
  hfdcan1.Init.RxFifo0ElmtsNbr = 0;
  hfdcan1.Init.RxFifo0ElmtSize = FDCAN_DATA_BYTES_8;
  hfdcan1.Init.RxFifo1ElmtsNbr = 0;
  hfdcan1.Init.RxFifo1ElmtSize = FDCAN_DATA_BYTES_8;
  hfdcan1.Init.RxBuffersNbr = 0;
  hfdcan1.Init.RxBufferSize = FDCAN_DATA_BYTES_8;
  hfdcan1.Init.TxEventsNbr = 0;
  hfdcan1.Init.TxBuffersNbr = 32;
  hfdcan1.Init.TxFifoQueueElmtsNbr = 0;
  hfdcan1.Init.TxFifoQueueMode = FDCAN_TX_FIFO_OPERATION;
  hfdcan1.Init.TxElmtSize = FDCAN_DATA_BYTES_8;
  if (HAL_FDCAN_Init(&hfdcan1) != HAL_OK)
  {
    Error_Handler();
  }

}

static void MX_I2C1_Init(void)
{

  hi2c1.Instance = I2C1;
  hi2c1.Init.Timing = 0x00909BEB;
  hi2c1.Init.OwnAddress1 = 0;
  hi2c1.Init.AddressingMode = I2C_ADDRESSINGMODE_7BIT;
  hi2c1.Init.DualAddressMode = I2C_DUALADDRESS_DISABLE;
  hi2c1.Init.OwnAddress2 = 0;
  hi2c1.Init.OwnAddress2Masks = I2C_OA2_NOMASK;
  hi2c1.Init.GeneralCallMode = I2C_GENERALCALL_DISABLE;
  hi2c1.Init.NoStretchMode = I2C_NOSTRETCH_DISABLE;
  if (HAL_I2C_Init(&hi2c1) != HAL_OK)
  {
    Error_Handler();
  }

  /** Configure Analogue filter
  */
  if (HAL_I2CEx_ConfigAnalogFilter(&hi2c1, I2C_ANALOGFILTER_ENABLE) != HAL_OK)
  {
    Error_Handler();
  }

  /** Configure Digital filter
  */
  if (HAL_I2CEx_ConfigDigitalFilter(&hi2c1, 0) != HAL_OK)
  {
    Error_Handler();
  }

}

static void MX_I2C2_Init(void)
{

  hi2c2.Instance = I2C2;
  hi2c2.Init.Timing = 0x00909BEB;
  hi2c2.Init.OwnAddress1 = 0;
  hi2c2.Init.AddressingMode = I2C_ADDRESSINGMODE_7BIT;
  hi2c2.Init.DualAddressMode = I2C_DUALADDRESS_DISABLE;
  hi2c2.Init.OwnAddress2 = 0;
  hi2c2.Init.OwnAddress2Masks = I2C_OA2_NOMASK;
  hi2c2.Init.GeneralCallMode = I2C_GENERALCALL_DISABLE;
  hi2c2.Init.NoStretchMode = I2C_NOSTRETCH_DISABLE;
  if (HAL_I2C_Init(&hi2c2) != HAL_OK)
  {
    Error_Handler();
  }

  /** Configure Analogue filter
  */
  if (HAL_I2CEx_ConfigAnalogFilter(&hi2c2, I2C_ANALOGFILTER_ENABLE) != HAL_OK)
  {
    Error_Handler();
  }

  /** Configure Digital filter
  */
  if (HAL_I2CEx_ConfigDigitalFilter(&hi2c2, 0) != HAL_OK)
  {
    Error_Handler();
  }

}

static void MX_TIM1_Init(void)
{

  TIM_ClockConfigTypeDef sClockSourceConfig = {0};
  TIM_MasterConfigTypeDef sMasterConfig = {0};
  TIM_OC_InitTypeDef sConfigOC = {0};
  TIM_BreakDeadTimeConfigTypeDef sBreakDeadTimeConfig = {0};

  htim1.Instance = TIM1;
  htim1.Init.Prescaler = 79;
  htim1.Init.CounterMode = TIM_COUNTERMODE_UP;
  htim1.Init.Period = 65535;
  htim1.Init.ClockDivision = TIM_CLOCKDIVISION_DIV1;
  htim1.Init.RepetitionCounter = 0;
  htim1.Init.AutoReloadPreload = TIM_AUTORELOAD_PRELOAD_DISABLE;
  if (HAL_TIM_Base_Init(&htim1) != HAL_OK)
  {
    Error_Handler();
  }
  sClockSourceConfig.ClockSource = TIM_CLOCKSOURCE_INTERNAL;
  if (HAL_TIM_ConfigClockSource(&htim1, &sClockSourceConfig) != HAL_OK)
  {
    Error_Handler();
  }
  if (HAL_TIM_OC_Init(&htim1) != HAL_OK)
  {
    Error_Handler();
  }
  sMasterConfig.MasterOutputTrigger = TIM_TRGO_RESET;
  sMasterConfig.MasterOutputTrigger2 = TIM_TRGO2_RESET;
  sMasterConfig.MasterSlaveMode = TIM_MASTERSLAVEMODE_DISABLE;
  if (HAL_TIMEx_MasterConfigSynchronization(&htim1, &sMasterConfig) != HAL_OK)
  {
    Error_Handler();
  }
  sConfigOC.OCMode = TIM_OCMODE_TIMING;
  sConfigOC.Pulse = 0;
  sConfigOC.OCPolarity = TIM_OCPOLARITY_HIGH;
  sConfigOC.OCNPolarity = TIM_OCNPOLARITY_HIGH;
  sConfigOC.OCFastMode = TIM_OCFAST_DISABLE;
  sConfigOC.OCIdleState = TIM_OCIDLESTATE_RESET;
  sConfigOC.OCNIdleState = TIM_OCNIDLESTATE_RESET;
  if (HAL_TIM_OC_ConfigChannel(&htim1, &sConfigOC, TIM_CHANNEL_1) != HAL_OK)
  {
    Error_Handler();
  }
  if (HAL_TIM_OC_ConfigChannel(&htim1, &sConfigOC, TIM_CHANNEL_2) != HAL_OK)
  {
    Error_Handler();
  }
  if (HAL_TIM_OC_ConfigChannel(&htim1, &sConfigOC, TIM_CHANNEL_3) != HAL_OK)
  {
    Error_Handler();
  }
  if (HAL_TIM_OC_ConfigChannel(&htim1, &sConfigOC, TIM_CHANNEL_4) != HAL_OK)
  {
    Error_Handler();
  }
  if (HAL_TIM_OC_ConfigChannel(&htim1, &sConfigOC, TIM_CHANNEL_5) != HAL_OK)
  {
    Error_Handler();
  }
  if (HAL_TIM_OC_ConfigChannel(&htim1, &sConfigOC, TIM_CHANNEL_6) != HAL_OK)
  {
    Error_Handler();
  }
  sBreakDeadTimeConfig.OffStateRunMode = TIM_OSSR_DISABLE;
  sBreakDeadTimeConfig.OffStateIDLEMode = TIM_OSSI_DISABLE;
  sBreakDeadTimeConfig.LockLevel = TIM_LOCKLEVEL_OFF;
  sBreakDeadTimeConfig.DeadTime = 0;
  sBreakDeadTimeConfig.BreakState = TIM_BREAK_DISABLE;
  sBreakDeadTimeConfig.BreakPolarity = TIM_BREAKPOLARITY_HIGH;
  sBreakDeadTimeConfig.BreakFilter = 0;
  sBreakDeadTimeConfig.Break2State = TIM_BREAK2_DISABLE;
  sBreakDeadTimeConfig.Break2Polarity = TIM_BREAK2POLARITY_HIGH;
  sBreakDeadTimeConfig.Break2Filter = 0;
  sBreakDeadTimeConfig.AutomaticOutput = TIM_AUTOMATICOUTPUT_DISABLE;
  if (HAL_TIMEx_ConfigBreakDeadTime(&htim1, &sBreakDeadTimeConfig) != HAL_OK)
  {
    Error_Handler();
  }
  HAL_TIM_MspPostInit(&htim1);

}

static void MX_TIM4_Init(void)
{

  TIM_ClockConfigTypeDef sClockSourceConfig = {0};
  TIM_MasterConfigTypeDef sMasterConfig = {0};
  TIM_OC_InitTypeDef sConfigOC = {0};

  htim4.Instance = TIM4;
  htim4.Init.Prescaler = 79;
  htim4.Init.CounterMode = TIM_COUNTERMODE_UP;
  htim4.Init.Period = 65535;
  htim4.Init.ClockDivision = TIM_CLOCKDIVISION_DIV1;
  htim4.Init.AutoReloadPreload = TIM_AUTORELOAD_PRELOAD_DISABLE;
  if (HAL_TIM_Base_Init(&htim4) != HAL_OK)
  {
    Error_Handler();
  }
  sClockSourceConfig.ClockSource = TIM_CLOCKSOURCE_INTERNAL;
  if (HAL_TIM_ConfigClockSource(&htim4, &sClockSourceConfig) != HAL_OK)
  {
    Error_Handler();
  }
  if (HAL_TIM_OC_Init(&htim4) != HAL_OK)
  {
    Error_Handler();
  }
  sMasterConfig.MasterOutputTrigger = TIM_TRGO_RESET;
  sMasterConfig.MasterSlaveMode = TIM_MASTERSLAVEMODE_DISABLE;
  if (HAL_TIMEx_MasterConfigSynchronization(&htim4, &sMasterConfig) != HAL_OK)
  {
    Error_Handler();
  }
  sConfigOC.OCMode = TIM_OCMODE_TIMING;
  sConfigOC.Pulse = 0;
  sConfigOC.OCPolarity = TIM_OCPOLARITY_HIGH;
  sConfigOC.OCFastMode = TIM_OCFAST_DISABLE;
  if (HAL_TIM_OC_ConfigChannel(&htim4, &sConfigOC, TIM_CHANNEL_1) != HAL_OK)
  {
    Error_Handler();
  }
  if (HAL_TIM_OC_ConfigChannel(&htim4, &sConfigOC, TIM_CHANNEL_2) != HAL_OK)
  {
    Error_Handler();
  }
  if (HAL_TIM_OC_ConfigChannel(&htim4, &sConfigOC, TIM_CHANNEL_3) != HAL_OK)
  {
    Error_Handler();
  }
  if (HAL_TIM_OC_ConfigChannel(&htim4, &sConfigOC, TIM_CHANNEL_4) != HAL_OK)
  {
    Error_Handler();
  }
  HAL_TIM_MspPostInit(&htim4);

}

static void MX_TIM5_Init(void)
{

  TIM_ClockConfigTypeDef sClockSourceConfig = {0};
  TIM_MasterConfigTypeDef sMasterConfig = {0};
  TIM_IC_InitTypeDef sConfigIC = {0};
  TIM_OC_InitTypeDef sConfigOC = {0};

  htim5.Instance = TIM5;
  htim5.Init.Prescaler = 79;
  htim5.Init.CounterMode = TIM_COUNTERMODE_UP;
  htim5.Init.Period = 0xFFFFFFFF;
  htim5.Init.ClockDivision = TIM_CLOCKDIVISION_DIV1;
  htim5.Init.AutoReloadPreload = TIM_AUTORELOAD_PRELOAD_DISABLE;
  if (HAL_TIM_Base_Init(&htim5) != HAL_OK)
  {
    Error_Handler();
  }
  sClockSourceConfig.ClockSource = TIM_CLOCKSOURCE_INTERNAL;
  if (HAL_TIM_ConfigClockSource(&htim5, &sClockSourceConfig) != HAL_OK)
  {
    Error_Handler();
  }
  if (HAL_TIM_IC_Init(&htim5) != HAL_OK)
  {
    Error_Handler();
  }
  if (HAL_TIM_OC_Init(&htim5) != HAL_OK)
  {
    Error_Handler();
  }
  sMasterConfig.MasterOutputTrigger = TIM_TRGO_RESET;
  sMasterConfig.MasterSlaveMode = TIM_MASTERSLAVEMODE_DISABLE;
  if (HAL_TIMEx_MasterConfigSynchronization(&htim5, &sMasterConfig) != HAL_OK)
  {
    Error_Handler();
  }
  sConfigIC.ICPolarity = TIM_INPUTCHANNELPOLARITY_RISING;
  sConfigIC.ICSelection = TIM_ICSELECTION_DIRECTTI;
  sConfigIC.ICPrescaler = TIM_ICPSC_DIV1;
  sConfigIC.ICFilter = 0;
  if (HAL_TIM_IC_ConfigChannel(&htim5, &sConfigIC, TIM_CHANNEL_1) != HAL_OK)
  {
    Error_Handler();
  }
  if (HAL_TIM_IC_ConfigChannel(&htim5, &sConfigIC, TIM_CHANNEL_2) != HAL_OK)
  {
    Error_Handler();
  }
  sConfigOC.OCMode = TIM_OCMODE_TIMING;
  sConfigOC.Pulse = 0;
  sConfigOC.OCPolarity = TIM_OCPOLARITY_HIGH;
  sConfigOC.OCFastMode = TIM_OCFAST_DISABLE;
  if (HAL_TIM_OC_ConfigChannel(&htim5, &sConfigOC, TIM_CHANNEL_3) != HAL_OK)
  {
    Error_Handler();
  }
  if (HAL_TIM_OC_ConfigChannel(&htim5, &sConfigOC, TIM_CHANNEL_4) != HAL_OK)
  {
    Error_Handler();
  }

}

static void MX_TIM13_Init(void)
{

  TIM_OC_InitTypeDef sConfigOC = {0};

  htim13.Instance = TIM13;
  htim13.Init.Prescaler = 0;
  htim13.Init.CounterMode = TIM_COUNTERMODE_UP;
  htim13.Init.Period = 65535;
  htim13.Init.ClockDivision = TIM_CLOCKDIVISION_DIV1;
  htim13.Init.AutoReloadPreload = TIM_AUTORELOAD_PRELOAD_DISABLE;
  if (HAL_TIM_Base_Init(&htim13) != HAL_OK)
  {
    Error_Handler();
  }
  if (HAL_TIM_PWM_Init(&htim13) != HAL_OK)
  {
    Error_Handler();
  }
  sConfigOC.OCMode = TIM_OCMODE_PWM1;
  sConfigOC.Pulse = 0;
  sConfigOC.OCPolarity = TIM_OCPOLARITY_HIGH;
  sConfigOC.OCFastMode = TIM_OCFAST_DISABLE;
  if (HAL_TIM_PWM_ConfigChannel(&htim13, &sConfigOC, TIM_CHANNEL_1) != HAL_OK)
  {
    Error_Handler();
  }
  HAL_TIM_MspPostInit(&htim13);

}

static void MX_TIM15_Init(void)
{

  TIM_MasterConfigTypeDef sMasterConfig = {0};
  TIM_OC_InitTypeDef sConfigOC = {0};
  TIM_BreakDeadTimeConfigTypeDef sBreakDeadTimeConfig = {0};

  htim15.Instance = TIM15;
  htim15.Init.Prescaler = 0;
  htim15.Init.CounterMode = TIM_COUNTERMODE_UP;
  htim15.Init.Period = 65535;
  htim15.Init.ClockDivision = TIM_CLOCKDIVISION_DIV1;
  htim15.Init.RepetitionCounter = 0;
  htim15.Init.AutoReloadPreload = TIM_AUTORELOAD_PRELOAD_DISABLE;
  if (HAL_TIM_PWM_Init(&htim15) != HAL_OK)
  {
    Error_Handler();
  }
  sMasterConfig.MasterOutputTrigger = TIM_TRGO_RESET;
  sMasterConfig.MasterSlaveMode = TIM_MASTERSLAVEMODE_DISABLE;
  if (HAL_TIMEx_MasterConfigSynchronization(&htim15, &sMasterConfig) != HAL_OK)
  {
    Error_Handler();
  }
  sConfigOC.OCMode = TIM_OCMODE_PWM1;
  sConfigOC.Pulse = 0;
  sConfigOC.OCPolarity = TIM_OCPOLARITY_HIGH;
  sConfigOC.OCNPolarity = TIM_OCNPOLARITY_HIGH;
  sConfigOC.OCFastMode = TIM_OCFAST_DISABLE;
  sConfigOC.OCIdleState = TIM_OCIDLESTATE_RESET;
  sConfigOC.OCNIdleState = TIM_OCNIDLESTATE_RESET;
  if (HAL_TIM_PWM_ConfigChannel(&htim15, &sConfigOC, TIM_CHANNEL_1) != HAL_OK)
  {
    Error_Handler();
  }
  if (HAL_TIM_PWM_ConfigChannel(&htim15, &sConfigOC, TIM_CHANNEL_2) != HAL_OK)
  {
    Error_Handler();
  }
  sBreakDeadTimeConfig.OffStateRunMode = TIM_OSSR_DISABLE;
  sBreakDeadTimeConfig.OffStateIDLEMode = TIM_OSSI_DISABLE;
  sBreakDeadTimeConfig.LockLevel = TIM_LOCKLEVEL_OFF;
  sBreakDeadTimeConfig.DeadTime = 0;
  sBreakDeadTimeConfig.BreakState = TIM_BREAK_DISABLE;
  sBreakDeadTimeConfig.BreakPolarity = TIM_BREAKPOLARITY_HIGH;
  sBreakDeadTimeConfig.BreakFilter = 0;
  sBreakDeadTimeConfig.AutomaticOutput = TIM_AUTOMATICOUTPUT_DISABLE;
  if (HAL_TIMEx_ConfigBreakDeadTime(&htim15, &sBreakDeadTimeConfig) != HAL_OK)
  {
    Error_Handler();
  }
  HAL_TIM_MspPostInit(&htim15);

}

static void MX_UART5_Init(void)
{

  huart5.Instance = UART5;
  huart5.Init.BaudRate = 115200;
  huart5.Init.WordLength = UART_WORDLENGTH_8B;
  huart5.Init.StopBits = UART_STOPBITS_1;
  huart5.Init.Parity = UART_PARITY_NONE;
  huart5.Init.Mode = UART_MODE_TX_RX;
  huart5.Init.HwFlowCtl = UART_HWCONTROL_NONE;
  huart5.Init.OverSampling = UART_OVERSAMPLING_16;
  huart5.Init.OneBitSampling = UART_ONE_BIT_SAMPLE_DISABLE;
  huart5.Init.ClockPrescaler = UART_PRESCALER_DIV1;
  huart5.AdvancedInit.AdvFeatureInit = UART_ADVFEATURE_NO_INIT;
  if (HAL_UART_Init(&huart5) != HAL_OK)
  {
    Error_Handler();
  }
  if (HAL_UARTEx_SetTxFifoThreshold(&huart5, UART_TXFIFO_THRESHOLD_1_8) != HAL_OK)
  {
    Error_Handler();
  }
  if (HAL_UARTEx_SetRxFifoThreshold(&huart5, UART_RXFIFO_THRESHOLD_1_8) != HAL_OK)
  {
    Error_Handler();
  }
  if (HAL_UARTEx_DisableFifoMode(&huart5) != HAL_OK)
  {
    Error_Handler();
  }

}

static void MX_USART1_UART_Init(void)
{

  huart1.Instance = USART1;
  huart1.Init.BaudRate = 460800;
  huart1.Init.WordLength = UART_WORDLENGTH_8B;
  huart1.Init.StopBits = UART_STOPBITS_1;
  huart1.Init.Parity = UART_PARITY_NONE;
  huart1.Init.Mode = UART_MODE_TX_RX;
  huart1.Init.HwFlowCtl = UART_HWCONTROL_NONE;
  huart1.Init.OverSampling = UART_OVERSAMPLING_16;
  huart1.Init.OneBitSampling = UART_ONE_BIT_SAMPLE_DISABLE;
  huart1.Init.ClockPrescaler = UART_PRESCALER_DIV1;
  huart1.AdvancedInit.AdvFeatureInit = UART_ADVFEATURE_NO_INIT;
  if (HAL_UART_Init(&huart1) != HAL_OK)
  {
    Error_Handler();
  }
  if (HAL_UARTEx_SetTxFifoThreshold(&huart1, UART_TXFIFO_THRESHOLD_1_8) != HAL_OK)
  {
    Error_Handler();
  }
  if (HAL_UARTEx_SetRxFifoThreshold(&huart1, UART_RXFIFO_THRESHOLD_1_8) != HAL_OK)
  {
    Error_Handler();
  }
  if (HAL_UARTEx_DisableFifoMode(&huart1) != HAL_OK)
  {
    Error_Handler();
  }

}

static void MX_USART3_UART_Init(void)
{

  huart3.Instance = USART3;
  huart3.Init.BaudRate = 115200;
  huart3.Init.WordLength = UART_WORDLENGTH_8B;
  huart3.Init.StopBits = UART_STOPBITS_1;
  huart3.Init.Parity = UART_PARITY_NONE;
  huart3.Init.Mode = UART_MODE_TX_RX;
  huart3.Init.HwFlowCtl = UART_HWCONTROL_NONE;
  huart3.Init.OverSampling = UART_OVERSAMPLING_16;
  huart3.Init.OneBitSampling = UART_ONE_BIT_SAMPLE_DISABLE;
  huart3.Init.ClockPrescaler = UART_PRESCALER_DIV1;
  huart3.AdvancedInit.AdvFeatureInit = UART_ADVFEATURE_NO_INIT;
  if (HAL_UART_Init(&huart3) != HAL_OK)
  {
    Error_Handler();
  }
  if (HAL_UARTEx_SetTxFifoThreshold(&huart3, UART_TXFIFO_THRESHOLD_1_8) != HAL_OK)
  {
    Error_Handler();
  }
  if (HAL_UARTEx_SetRxFifoThreshold(&huart3, UART_RXFIFO_THRESHOLD_1_8) != HAL_OK)
  {
    Error_Handler();
  }
  if (HAL_UARTEx_DisableFifoMode(&huart3) != HAL_OK)
  {
    Error_Handler();
  }

}

static void MX_DMA_Init(void)
{

  /* DMA controller clock enable */
  __HAL_RCC_DMA1_CLK_ENABLE();

  /* DMA interrupt init */
  /* DMA1_Stream0_IRQn interrupt configuration */
  HAL_NVIC_SetPriority(DMA1_Stream0_IRQn, 10, 0);
  HAL_NVIC_EnableIRQ(DMA1_Stream0_IRQn);
  /* DMA1_Stream1_IRQn interrupt configuration */
  HAL_NVIC_SetPriority(DMA1_Stream1_IRQn, 10, 0);
  HAL_NVIC_EnableIRQ(DMA1_Stream1_IRQn);

}

static void MX_GPIO_Init(void)
{

  /* GPIO Ports Clock Enable */
  __HAL_RCC_GPIOE_CLK_ENABLE();
  __HAL_RCC_GPIOC_CLK_ENABLE();
  __HAL_RCC_GPIOH_CLK_ENABLE();
  __HAL_RCC_GPIOA_CLK_ENABLE();
  __HAL_RCC_GPIOB_CLK_ENABLE();
  __HAL_RCC_GPIOD_CLK_ENABLE();

}

/* USER CODE BEGIN 4 */

void TIM1_Init_Config(void) {
	__HAL_TIM_SET_COMPARE(&htim1, TIM_CHANNEL_1, 0);
	__HAL_TIM_SET_COMPARE(&htim1, TIM_CHANNEL_2, 0);
	__HAL_TIM_SET_COMPARE(&htim1, TIM_CHANNEL_3, 0);
	__HAL_TIM_SET_COMPARE(&htim1, TIM_CHANNEL_4, 0);

	__HAL_TIM_SET_COMPARE(&htim1, TIM_CHANNEL_5,
			__HAL_TIM_GET_COUNTER(&htim1) + 10); //__HAL_TIM_GET_COUNTER(&htim1) + 10 a cada 10 ticks
	HAL_TIM_OC_Start_IT(&htim1, TIM_CHANNEL_5);

	__HAL_TIM_SET_COMPARE(&htim1, TIM_CHANNEL_6,
			__HAL_TIM_GET_COUNTER(&htim1) + 10); //__HAL_TIM_GET_COUNTER(&htim1) + 10 a cada 10 ticks
	HAL_TIM_OC_Start_IT(&htim1, TIM_CHANNEL_6);

	HAL_TIM_OC_Start(&htim1, TIM_CHANNEL_1);
	HAL_TIM_OC_Start(&htim1, TIM_CHANNEL_2);
	HAL_TIM_OC_Start(&htim1, TIM_CHANNEL_3);
	HAL_TIM_OC_Start(&htim1, TIM_CHANNEL_4);

	HAL_TIM_Base_Start(&htim1);
}

void TIM4_Init_Config(void) {
	__HAL_TIM_SET_COMPARE(&htim4, TIM_CHANNEL_1, 0);
	__HAL_TIM_SET_COMPARE(&htim4, TIM_CHANNEL_2, 0);
	__HAL_TIM_SET_COMPARE(&htim4, TIM_CHANNEL_3, 0);
	__HAL_TIM_SET_COMPARE(&htim4, TIM_CHANNEL_4, 0);

	HAL_TIM_OC_Start(&htim4, TIM_CHANNEL_1);
	HAL_TIM_OC_Start(&htim4, TIM_CHANNEL_2);
	HAL_TIM_OC_Start(&htim4, TIM_CHANNEL_3);
	HAL_TIM_OC_Start(&htim4, TIM_CHANNEL_4);

	HAL_TIM_Base_Start(&htim4);
}

void TIM5_Init_Config(void) {
	HAL_TIM_IC_Start_IT(&htim5, TIM_CHANNEL_1);
	HAL_TIM_IC_Start_IT(&htim5, TIM_CHANNEL_2);

	__HAL_TIM_SET_COMPARE(&htim5, TIM_CHANNEL_3,
	__HAL_TIM_GET_COUNTER(&htim5) + 10); //__HAL_TIM_GET_COUNTER(&htim5) + 10 a cada 10 ticks
	HAL_TIM_OC_Start_IT(&htim5, TIM_CHANNEL_3);

	HAL_TIM_OC_Start_IT(&htim5, TIM_CHANNEL_4);
}

void HAL_UART_RxCpltCallback(UART_HandleTypeDef *huart) {
	if (huart->Instance == USART1) {
		//PROTOCOL_RX_Callback();
	}
}

void HAL_UART_TxCpltCallback(UART_HandleTypeDef *huart) {
	if (huart->Instance == USART1) {
		//PROTOCOL_TX_Callback();
	}
}

int _write(int file, char *ptr, int len) {
	HAL_UART_Transmit(&huart3, (uint8_t*) ptr, len, 1000);
	return len;
}
/* USER CODE END 4 */

 /* MPU Configuration */

void MPU_Config(void)
{
  MPU_Region_InitTypeDef MPU_InitStruct = {0};

  /* Disables the MPU */
  HAL_MPU_Disable();

  /** Initializes and configures the Region and the memory to be protected
  */
  MPU_InitStruct.Enable = MPU_REGION_ENABLE;
  MPU_InitStruct.Number = MPU_REGION_NUMBER0;
  MPU_InitStruct.BaseAddress = 0x0;
  MPU_InitStruct.Size = MPU_REGION_SIZE_4GB;
  MPU_InitStruct.SubRegionDisable = 0x87;
  MPU_InitStruct.TypeExtField = MPU_TEX_LEVEL0;
  MPU_InitStruct.AccessPermission = MPU_REGION_NO_ACCESS;
  MPU_InitStruct.DisableExec = MPU_INSTRUCTION_ACCESS_DISABLE;
  MPU_InitStruct.IsShareable = MPU_ACCESS_SHAREABLE;
  MPU_InitStruct.IsCacheable = MPU_ACCESS_NOT_CACHEABLE;
  MPU_InitStruct.IsBufferable = MPU_ACCESS_NOT_BUFFERABLE;

  HAL_MPU_ConfigRegion(&MPU_InitStruct);
  /* Enables the MPU */
  HAL_MPU_Enable(MPU_PRIVILEGED_DEFAULT);

}

void Error_Handler(void)
{
	__disable_irq();
	while (1) {
	}
}
